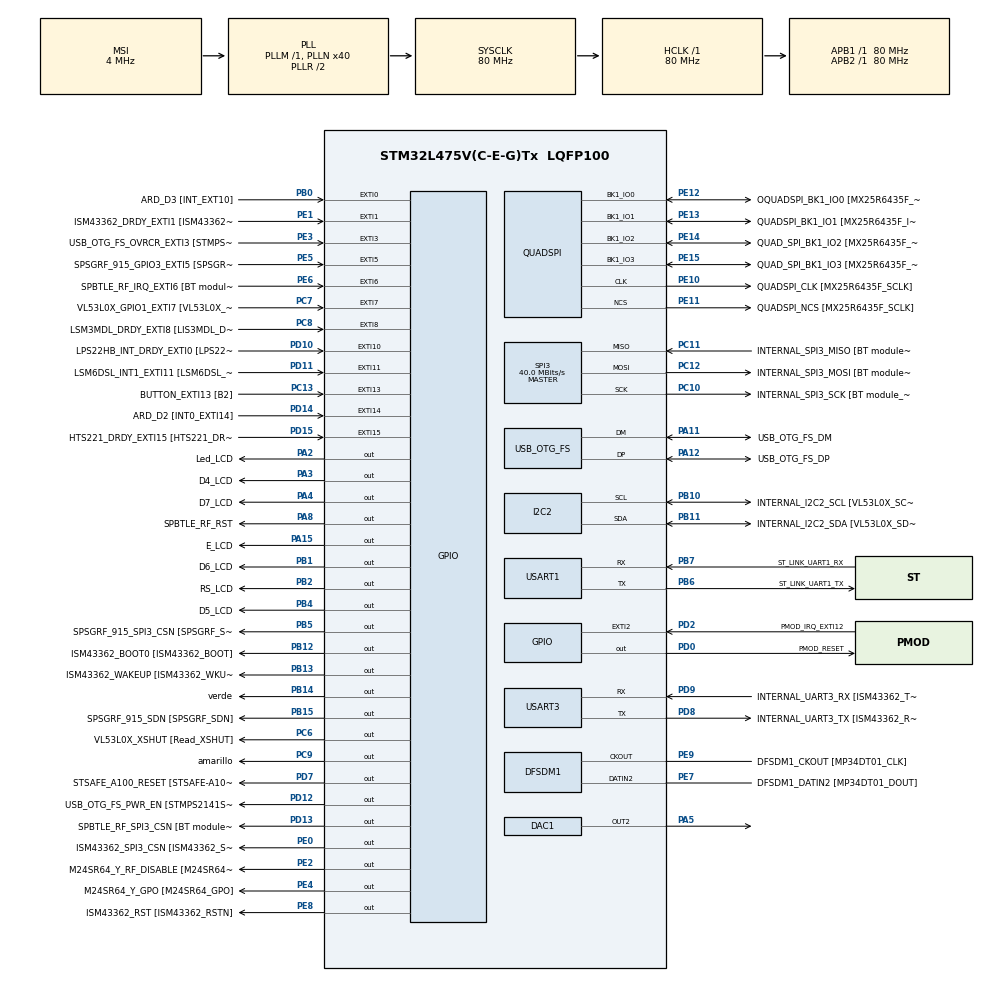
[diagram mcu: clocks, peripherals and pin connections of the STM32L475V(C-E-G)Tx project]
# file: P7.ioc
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DAC1.DAC_Channel-DAC_OUT2=DAC_CHANNEL_2
FREERTOS.BinarySemaphores01=myLCD,Dynamic,NULL
FREERTOS.Tasks01=defaultTask,24,128,StartDefaultTask,Default,NULL,Dynamic,NULL,NULL;led_verde,24,128,Start_led_verde,Default,NULL,Dynamic,NULL,NULL;led_amarillo,8,128,Start_led_amarillo,Default,NULL,Dynamic,NULL,NULL;LCDTareaA,8,128,Start_LCDTareaA,Default,NULL,Dynamic,NULL,NULL;LCDTareaB,24,128,Start_LCDTareaB,Default,NULL,Dynamic,NULL,NULL
FREERTOS.configTOTAL_HEAP_SIZE=30000
I2C2.Timing=0x10909CEC
Mcu.Family=STM32L4
Mcu.Name=STM32L475V(C-E-G)Tx
Mcu.Package=LQFP100
NVIC.EXTI15_10_IRQn=true\:5\:0\:false\:false\:true\:true\:true\:true
NVIC.EXTI9_5_IRQn=true\:5\:0\:false\:false\:true\:true\:true\:true
NVIC.OTG_FS_IRQn=true\:5\:0\:false\:false\:true\:true\:true\:true
NVIC.PriorityGroup=NVIC_PRIORITYGROUP_4
NVIC.TIM7_IRQn=true\:5\:0\:false\:false\:true\:true\:true\:true
PA0.GPIO_Label=ARD_D1 [UART4_TX]
PA0.Signal=UART4_TX
PA1.GPIO_Label=ARD_D0 [UART4_RX]
PA1.Signal=UART4_RX
PA10.GPIO_Label=USB_OTG_FS_ID
PA10.Signal=USB_OTG_FS_ID
PA11.GPIO_Label=USB_OTG_FS_DM
PA11.Mode=Device_Only
PA11.Signal=USB_OTG_FS_DM
PA12.GPIO_Label=USB_OTG_FS_DP
PA12.Mode=Device_Only
PA12.Signal=USB_OTG_FS_DP
PA13\ (JTMS-SWDIO).GPIO_Label=SYS_JTMS_SWDIO
PA13\ (JTMS-SWDIO).Mode=Serial_Wire
PA13\ (JTMS-SWDIO).Signal=SYS_JTMS-SWDIO
PA14\ (JTCK-SWCLK).GPIO_Label=SYS_JTCK_SWCLK
PA14\ (JTCK-SWCLK).Mode=Serial_Wire
PA14\ (JTCK-SWCLK).Signal=SYS_JTCK-SWCLK
PA15\ (JTDI).GPIO_Label=E_LCD
PA15\ (JTDI).Signal=GPIO_Output
PA2.GPIO_Label=Led_LCD
PA2.Signal=GPIO_Output
PA3.GPIO_Label=D4_LCD
PA3.Signal=GPIO_Output
PA4.GPIO_Label=D7_LCD
PA4.Signal=GPIO_Output
PA5.Signal=COMP_DAC12_group
PA6.GPIO_Label=ARD_D12 [SPI1_MISO]
PA6.Signal=SPI1_MISO
PA7.GPIO_Label=ARD_D11 [SPI1_MOSI]
PA7.Signal=SPI1_MOSI
PA8.GPIO_Label=SPBTLE_RF_RST
PA8.Signal=GPIO_Output
PA9.GPIO_Label=USB_OTG_FS_VBUS [STMPS2141STR_OUT]
PA9.Signal=USB_OTG_FS_VBUS
PB0.GPIO_Label=ARD_D3 [INT_EXT10]
PB0.Signal=GPXTI0
PB1.GPIO_Label=D6_LCD
PB1.Signal=GPIO_Output
PB10.GPIO_Label=INTERNAL_I2C2_SCL [VL53L0X_SCL]
PB10.Mode=I2C
PB10.Signal=I2C2_SCL
PB11.GPIO_Label=INTERNAL_I2C2_SDA [VL53L0X_SDA]
PB11.Mode=I2C
PB11.Signal=I2C2_SDA
PB12.GPIO_Label=ISM43362_BOOT0 [ISM43362_BOOT]
PB12.Signal=GPIO_Output
PB13.GPIO_Label=ISM43362_WAKEUP [ISM43362_WKUP]
PB13.Signal=GPIO_Output
PB14.GPIO_Label=verde
PB14.Signal=GPIO_Output
PB15.GPIO_Label=SPSGRF_915_SDN [SPSGRF_SDN]
PB15.Signal=GPIO_Output
PB2.GPIO_Label=RS_LCD
PB2.Signal=GPIO_Output
PB3\ (JTDO-TRACESWO).GPIO_Label=SYS_JTD0_SWO
PB3\ (JTDO-TRACESWO).Signal=SYS_JTDO-SWO
PB4\ (NJTRST).GPIO_Label=D5_LCD
PB4\ (NJTRST).Signal=GPIO_Output
PB5.GPIO_Label=SPSGRF_915_SPI3_CSN [SPSGRF_SPI_CS]
PB5.PinState=GPIO_PIN_SET
PB5.Signal=GPIO_Output
PB6.GPIO_Label=ST_LINK_UART1_TX
PB6.Mode=Asynchronous
PB6.Signal=USART1_TX
PB7.GPIO_Label=ST_LINK_UART1_RX
PB7.Mode=Asynchronous
PB7.Signal=USART1_RX
PB8.GPIO_Label=ARD_D15 [I2C1_SCL]
PB8.Signal=I2C1_SCL
PB9.GPIO_Label=ARD_D14 [I2C1_SDA]
PB9.Signal=I2C1_SDA
PC0.GPIO_Label=ARD_A5 [ADC]
PC0.Signal=ADCx_IN1
PC1.GPIO_Label=ARD_A4 [ADC]
PC1.Signal=ADCx_IN2
PC10.GPIO_Label=INTERNAL_SPI3_SCK [BT module_SPI_SCLK] [ISM43362_SCK]
PC10.Mode=Full_Duplex_Master
PC10.Signal=SPI3_SCK
PC11.GPIO_Label=INTERNAL_SPI3_MISO [BT module_SPI_MISO] [ISM43362_MISO]
PC11.Mode=Full_Duplex_Master
PC11.Signal=SPI3_MISO
PC12.GPIO_Label=INTERNAL_SPI3_MOSI [BT module_SPI_MOSI] [ISM43362_MOSI]
PC12.Mode=Full_Duplex_Master
PC12.Signal=SPI3_MOSI
PC13.GPIO_Label=BUTTON_EXTI13 [B2]
PC13.GPIO_ModeDefaultEXTI=GPIO_MODE_IT_FALLING
PC13.Signal=GPXTI13
PC14-OSC32_IN\ (PC14).Mode=LSE-External-Oscillator
PC14-OSC32_IN\ (PC14).Signal=RCC_OSC32_IN
PC15-OSC32_OUT\ (PC15).Mode=LSE-External-Oscillator
PC15-OSC32_OUT\ (PC15).Signal=RCC_OSC32_OUT
PC2.GPIO_Label=ARD_A3 [ADC]
PC2.Signal=ADCx_IN3
PC3.GPIO_Label=ARD_A2 [ADC]
PC3.Signal=ADCx_IN4
PC4.GPIO_Label=ARD_A1 [ADC]
PC4.Signal=ADCx_IN13
PC5.GPIO_Label=ARD_A0 [ADC]
PC5.Signal=ADCx_IN14
PC6.GPIO_Label=VL53L0X_XSHUT [Read_XSHUT]
PC6.Signal=GPIO_Output
PC7.GPIO_Label=VL53L0X_GPIO1_EXTI7 [VL53L0X_GPIO1]
PC7.Signal=GPXTI7
PC8.GPIO_Label=LSM3MDL_DRDY_EXTI8 [LIS3MDL_DRDY]
PC8.Signal=GPXTI8
PC9.GPIO_Label=amarillo
PC9.Signal=GPIO_Output
PD0.GPIO_Label=PMOD_RESET
PD0.Signal=GPIO_Output
PD1.GPIO_Label=PMOD_SPI2_SCK
PD1.Signal=SPI2_SCK
PD10.GPIO_Label=LPS22HB_INT_DRDY_EXTI0 [LPS22HB_INT_DRDY] 
PD10.Signal=GPXTI10
PD11.GPIO_Label=LSM6DSL_INT1_EXTI11 [LSM6DSL_INT1]
PD11.Signal=GPXTI11
PD12.GPIO_Label=USB_OTG_FS_PWR_EN [STMPS2141STR_EN]
PD12.Signal=GPIO_Output
PD13.GPIO_Label=SPBTLE_RF_SPI3_CSN [BT module_SPI_CS]
PD13.PinState=GPIO_PIN_SET
PD13.Signal=GPIO_Output
PD14.GPIO_Label=ARD_D2 [INT0_EXTI14]
PD14.Signal=GPXTI14
PD15.GPIO_Label=HTS221_DRDY_EXTI15 [HTS221_DRDY]
PD15.Signal=GPXTI15
PD2.GPIO_Label=PMOD_IRQ_EXTI12
PD2.Signal=GPXTI2
PD3.GPIO_Label=PMOD_UART2_CTS
PD3.Signal=USART2_CTS
PD4.GPIO_Label=PMOD_UART2_RTS
PD4.Signal=USART2_RTS
PD5.GPIO_Label=PMOD_UART2_TX
PD5.Signal=USART2_TX
PD6.GPIO_Label=PMOD_UART2_RX
PD6.Signal=USART2_RX
PD7.GPIO_Label=STSAFE_A100_RESET [STSAFE-A100_RESET]
PD7.Signal=GPIO_Output
PD8.GPIO_Label=INTERNAL_UART3_TX [ISM43362_RX]
PD8.Mode=Asynchronous
PD8.Signal=USART3_TX
PD9.GPIO_Label=INTERNAL_UART3_RX [ISM43362_TX]
PD9.Mode=Asynchronous
PD9.Signal=USART3_RX
PE0.GPIO_Label=ISM43362_SPI3_CSN [ISM43362_SSN]
PE0.PinState=GPIO_PIN_SET
PE0.Signal=GPIO_Output
PE1.GPIO_Label=ISM43362_DRDY_EXTI1 [ISM43362_DATARDY]
PE1.Signal=GPXTI1
PE10.GPIO_Label=QUADSPI_CLK [MX25R6435F_SCLK]
PE10.Mode=Single Bank
PE10.Signal=QUADSPI_CLK
PE11.GPIO_Label=QUADSPI_NCS [MX25R6435F_SCLK]
PE11.Mode=Single Bank
PE11.Signal=QUADSPI_NCS
PE12.GPIO_Label=OQUADSPI_BK1_IO0 [MX25R6435F_IO0]
PE12.Mode=Single Bank
PE12.Signal=QUADSPI_BK1_IO0
PE13.GPIO_Label=QUADSPI_BK1_IO1 [MX25R6435F_IO1]
PE13.Mode=Single Bank
PE13.Signal=QUADSPI_BK1_IO1
PE14.GPIO_Label=QUAD_SPI_BK1_IO2 [MX25R6435F_IO2]
PE14.Mode=Single Bank
PE14.Signal=QUADSPI_BK1_IO2
PE15.GPIO_Label=QUAD_SPI_BK1_IO3 [MX25R6435F_IO3]
PE15.Mode=Single Bank
PE15.Signal=QUADSPI_BK1_IO3
PE2.GPIO_Label=M24SR64_Y_RF_DISABLE [M24SR64_RFDIS]
PE2.Signal=GPIO_Output
PE3.GPIO_Label=USB_OTG_FS_OVRCR_EXTI3 [STMPS2141STR_FAULT]
PE3.Signal=GPXTI3
PE4.GPIO_Label=M24SR64_Y_GPO [M24SR64_GPO]
PE4.Signal=GPIO_Output
PE5.GPIO_Label=SPSGRF_915_GPIO3_EXTI5 [SPSGRF_GPIO_3]
PE5.Signal=GPXTI5
PE6.GPIO_Label=SPBTLE_RF_IRQ_EXTI6 [BT module_SPI_IRQ]
PE6.Signal=GPXTI6
PE7.GPIO_Label=DFSDM1_DATIN2 [MP34DT01_DOUT]
PE7.Signal=S_DATAIN2DFSDM1
PE8.GPIO_Label=ISM43362_RST [ISM43362_RSTN]
PE8.Signal=GPIO_Output
PE9.GPIO_Label=DFSDM1_CKOUT [MP34DT01_CLK]
PE9.Signal=S_CKOUTDFSDM1
ProjectManager.HeapSize=0x200
ProjectManager.StackSize=0x400
ProjectManager.TargetToolchain=STM32CubeIDE
RCC.ADCFreq_Value=48000000
RCC.AHBFreq_Value=80000000
RCC.APB1Freq_Value=80000000
RCC.APB1TimFreq_Value=80000000
RCC.APB2Freq_Value=80000000
RCC.APB2TimFreq_Value=80000000
RCC.CortexFreq_Value=80000000
RCC.HCLKFreq_Value=80000000
RCC.HSE_VALUE=8000000
RCC.HSI_VALUE=16000000
RCC.MSI_VALUE=4000000
RCC.PLLN=40
RCC.PLLSAI1N=24
RCC.SYSCLKFreq_VALUE=80000000
RCC.SYSCLKSource=RCC_SYSCLKSOURCE_PLLCLK
RCC.USBFreq_Value=48000000
RCC.VCOOutputFreq_Value=160000000
SH.ADCx_IN1.0=ADC1_IN1
SH.ADCx_IN13.0=ADC1_IN13
SH.ADCx_IN14.0=ADC1_IN14
SH.ADCx_IN2.0=ADC1_IN2
SH.ADCx_IN3.0=ADC1_IN3
SH.ADCx_IN4.0=ADC1_IN4
SH.COMP_DAC12_group.0=DAC1_OUT2,DAC_OUT2
SH.S_CKOUTDFSDM1.0=DFSDM1_CKOUT,CKOUT
SH.S_CKOUTDFSDM1.1=DFSDM1_CKOUT,PDM_SPI_Input_from_ch12_and_Internal_Clock
SH.S_DATAIN2DFSDM1.0=DFSDM1_DATIN2,PDM_SPI_Input_from_ch12_and_Internal_Clock
SPI3.CalculateBaudRate=40.0 MBits/s
SPI3.Direction=SPI_DIRECTION_2LINES
SPI3.Mode=SPI_MODE_MASTER
SPI3.VirtualType=VM_MASTER
TIM7.Period=3320
USART1.VirtualMode-Asynchronous=VM_ASYNC
USART3.VirtualMode-Asynchronous=VM_ASYNC
USB_DEVICE.CLASS_NAME_FS=AUDIO
USB_DEVICE.USBD_AUDIO_FREQ=24000
USB_DEVICE.VirtualMode=Audio
USB_DEVICE.VirtualModeFS=Audio_FS
USB_OTG_FS.VirtualMode=Device_Only
VP_FREERTOS_VS_CMSIS_V2.Mode=CMSIS_V2
VP_TIM7_VS_ClockSourceINT.Mode=Enable_Timer
VP_USB_DEVICE_VS_USB_DEVICE_AUDIO_FS.Mode=AUDIO_FS
board=B-L475E-IOT01A1

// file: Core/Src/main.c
/* USER CODE BEGIN Header */
/**
  ******************************************************************************
  * @file           : main.c
  * @brief          : Main program body
  ******************************************************************************
  * @attention
  *
  * <h2><center>&copy; Copyright (c) 2021 STMicroelectronics.
  * All rights reserved.</center></h2>
  *
  * This software component is licensed by ST under BSD 3-Clause license,
  * the "License"; You may not use this file except in compliance with the
  * License. You may obtain a copy of the License at:
  *                        opensource.org/licenses/BSD-3-Clause
  *
  ******************************************************************************
  */
/* USER CODE END Header */

#include "main.h"
#include "cmsis_os.h"
#include "usb_device.h"

/* USER CODE BEGIN Includes */
#include "hd44780.h"
/* USER CODE END Includes */

DAC_HandleTypeDef hdac1;

DFSDM_Channel_HandleTypeDef hdfsdm1_channel1;

I2C_HandleTypeDef hi2c2;

QSPI_HandleTypeDef hqspi;

SPI_HandleTypeDef hspi3;

TIM_HandleTypeDef htim7;

UART_HandleTypeDef huart1;
UART_HandleTypeDef huart3;

/* Definitions for defaultTask */
osThreadId_t defaultTaskHandle;
const osThreadAttr_t defaultTask_attributes = {
  .name = "defaultTask",
  .priority = (osPriority_t) osPriorityNormal,
  .stack_size = 128 * 4
};
/* Definitions for led_verde */
osThreadId_t led_verdeHandle;
const osThreadAttr_t led_verde_attributes = {
  .name = "led_verde",
  .priority = (osPriority_t) osPriorityNormal,
  .stack_size = 128 * 4
};
/* Definitions for led_amarillo */
osThreadId_t led_amarilloHandle;
const osThreadAttr_t led_amarillo_attributes = {
  .name = "led_amarillo",
  .priority = (osPriority_t) osPriorityLow,
  .stack_size = 128 * 4
};
/* Definitions for LCDTareaA */
osThreadId_t LCDTareaAHandle;
const osThreadAttr_t LCDTareaA_attributes = {
  .name = "LCDTareaA",
  .priority = (osPriority_t) osPriorityLow,
  .stack_size = 128 * 4
};
/* Definitions for LCDTareaB */
osThreadId_t LCDTareaBHandle;
const osThreadAttr_t LCDTareaB_attributes = {
  .name = "LCDTareaB",
  .priority = (osPriority_t) osPriorityNormal,
  .stack_size = 128 * 4
};
/* Definitions for myLCD */
osSemaphoreId_t myLCDHandle;
const osSemaphoreAttr_t myLCD_attributes = {
  .name = "myLCD"
};
/* USER CODE BEGIN PV */
int sample, Ain;
uint8_t buttonID;
float ganancia;
uint8_t efecto;
/* USER CODE END PV */

void SystemClock_Config(void);
static void MX_GPIO_Init(void);
static void MX_DFSDM1_Init(void);
static void MX_I2C2_Init(void);
static void MX_QUADSPI_Init(void);
static void MX_SPI3_Init(void);
static void MX_USART1_UART_Init(void);
static void MX_USART3_UART_Init(void);
static void MX_DAC1_Init(void);
static void MX_TIM7_Init(void);
void StartDefaultTask(void *argument);
void Start_led_verde(void *argument);
void Start_led_amarillo(void *argument);
void Start_LCDTareaA(void *argument);
void Start_LCDTareaB(void *argument);

int main(void)
{

  /* MCU Configuration--------------------------------------------------------*/

  /* Reset of all peripherals, Initializes the Flash interface and the Systick. */
  HAL_Init();

  /* Configure the system clock */
  SystemClock_Config();

  /* Initialize all configured peripherals */
  MX_GPIO_Init();
  MX_DFSDM1_Init();
  MX_I2C2_Init();
  MX_QUADSPI_Init();
  MX_SPI3_Init();
  MX_USART1_UART_Init();
  MX_USART3_UART_Init();
  MX_DAC1_Init();
  MX_TIM7_Init();
  /* USER CODE BEGIN 2 */
  HAL_DAC_Start(&hdac1, DAC1_CHANNEL_2);
  HAL_TIM_Base_Start_IT(&htim7);
  /* USER CODE END 2 */

  /* Init scheduler */
  osKernelInitialize();

  /* Create the semaphores(s) */
  /* creation of myLCD */
  myLCDHandle = osSemaphoreNew(1, 1, &myLCD_attributes);

  /* Create the thread(s) */
  /* creation of defaultTask */
  defaultTaskHandle = osThreadNew(StartDefaultTask, NULL, &defaultTask_attributes);

  /* creation of led_verde */
  led_verdeHandle = osThreadNew(Start_led_verde, NULL, &led_verde_attributes);

  /* creation of led_amarillo */
  led_amarilloHandle = osThreadNew(Start_led_amarillo, NULL, &led_amarillo_attributes);

  /* creation of LCDTareaA */
  LCDTareaAHandle = osThreadNew(Start_LCDTareaA, NULL, &LCDTareaA_attributes);

  /* creation of LCDTareaB */
  LCDTareaBHandle = osThreadNew(Start_LCDTareaB, NULL, &LCDTareaB_attributes);

  /* Start scheduler */
  osKernelStart();

  /* We should never get here as control is now taken by the scheduler */
  /* Infinite loop */
  while (1)
  {

  }
}

void SystemClock_Config(void)
{
  RCC_OscInitTypeDef RCC_OscInitStruct = {0};
  RCC_ClkInitTypeDef RCC_ClkInitStruct = {0};
  RCC_PeriphCLKInitTypeDef PeriphClkInit = {0};

  /** Configure LSE Drive Capability
  */
  HAL_PWR_EnableBkUpAccess();
  __HAL_RCC_LSEDRIVE_CONFIG(RCC_LSEDRIVE_LOW);
  /** Initializes the CPU, AHB and APB busses clocks
  */
  RCC_OscInitStruct.OscillatorType = RCC_OSCILLATORTYPE_LSE|RCC_OSCILLATORTYPE_MSI;
  RCC_OscInitStruct.LSEState = RCC_LSE_ON;
  RCC_OscInitStruct.MSIState = RCC_MSI_ON;
  RCC_OscInitStruct.MSICalibrationValue = 0;
  RCC_OscInitStruct.MSIClockRange = RCC_MSIRANGE_6;
  RCC_OscInitStruct.PLL.PLLState = RCC_PLL_ON;
  RCC_OscInitStruct.PLL.PLLSource = RCC_PLLSOURCE_MSI;
  RCC_OscInitStruct.PLL.PLLM = 1;
  RCC_OscInitStruct.PLL.PLLN = 40;
  RCC_OscInitStruct.PLL.PLLP = RCC_PLLP_DIV7;
  RCC_OscInitStruct.PLL.PLLQ = RCC_PLLQ_DIV2;
  RCC_OscInitStruct.PLL.PLLR = RCC_PLLR_DIV2;
  if (HAL_RCC_OscConfig(&RCC_OscInitStruct) != HAL_OK)
  {
    Error_Handler();
  }
  /** Initializes the CPU, AHB and APB busses clocks
  */
  RCC_ClkInitStruct.ClockType = RCC_CLOCKTYPE_HCLK|RCC_CLOCKTYPE_SYSCLK
                              |RCC_CLOCKTYPE_PCLK1|RCC_CLOCKTYPE_PCLK2;
  RCC_ClkInitStruct.SYSCLKSource = RCC_SYSCLKSOURCE_PLLCLK;
  RCC_ClkInitStruct.AHBCLKDivider = RCC_SYSCLK_DIV1;
  RCC_ClkInitStruct.APB1CLKDivider = RCC_HCLK_DIV1;
  RCC_ClkInitStruct.APB2CLKDivider = RCC_HCLK_DIV1;

  if (HAL_RCC_ClockConfig(&RCC_ClkInitStruct, FLASH_LATENCY_4) != HAL_OK)
  {
    Error_Handler();
  }
  PeriphClkInit.PeriphClockSelection = RCC_PERIPHCLK_USART1|RCC_PERIPHCLK_USART3
                              |RCC_PERIPHCLK_I2C2|RCC_PERIPHCLK_DFSDM1
                              |RCC_PERIPHCLK_USB;
  PeriphClkInit.Usart1ClockSelection = RCC_USART1CLKSOURCE_PCLK2;
  PeriphClkInit.Usart3ClockSelection = RCC_USART3CLKSOURCE_PCLK1;
  PeriphClkInit.I2c2ClockSelection = RCC_I2C2CLKSOURCE_PCLK1;
  PeriphClkInit.Dfsdm1ClockSelection = RCC_DFSDM1CLKSOURCE_PCLK;
  PeriphClkInit.UsbClockSelection = RCC_USBCLKSOURCE_PLLSAI1;
  PeriphClkInit.PLLSAI1.PLLSAI1Source = RCC_PLLSOURCE_MSI;
  PeriphClkInit.PLLSAI1.PLLSAI1M = 1;
  PeriphClkInit.PLLSAI1.PLLSAI1N = 24;
  PeriphClkInit.PLLSAI1.PLLSAI1P = RCC_PLLP_DIV7;
  PeriphClkInit.PLLSAI1.PLLSAI1Q = RCC_PLLQ_DIV2;
  PeriphClkInit.PLLSAI1.PLLSAI1R = RCC_PLLR_DIV2;
  PeriphClkInit.PLLSAI1.PLLSAI1ClockOut = RCC_PLLSAI1_48M2CLK;
  if (HAL_RCCEx_PeriphCLKConfig(&PeriphClkInit) != HAL_OK)
  {
    Error_Handler();
  }
  /** Configure the main internal regulator output voltage
  */
  if (HAL_PWREx_ControlVoltageScaling(PWR_REGULATOR_VOLTAGE_SCALE1) != HAL_OK)
  {
    Error_Handler();
  }
  /** Enable MSI Auto calibration
  */
  HAL_RCCEx_EnableMSIPLLMode();
}

static void MX_DAC1_Init(void)
{

  DAC_ChannelConfTypeDef sConfig = {0};

  /** DAC Initialization
  */
  hdac1.Instance = DAC1;
  if (HAL_DAC_Init(&hdac1) != HAL_OK)
  {
    Error_Handler();
  }
  /** DAC channel OUT2 config
  */
  sConfig.DAC_SampleAndHold = DAC_SAMPLEANDHOLD_DISABLE;
  sConfig.DAC_Trigger = DAC_TRIGGER_NONE;
  sConfig.DAC_OutputBuffer = DAC_OUTPUTBUFFER_ENABLE;
  sConfig.DAC_ConnectOnChipPeripheral = DAC_CHIPCONNECT_DISABLE;
  sConfig.DAC_UserTrimming = DAC_TRIMMING_FACTORY;
  if (HAL_DAC_ConfigChannel(&hdac1, &sConfig, DAC_CHANNEL_2) != HAL_OK)
  {
    Error_Handler();
  }

}

static void MX_DFSDM1_Init(void)
{

  hdfsdm1_channel1.Instance = DFSDM1_Channel1;
  hdfsdm1_channel1.Init.OutputClock.Activation = ENABLE;
  hdfsdm1_channel1.Init.OutputClock.Selection = DFSDM_CHANNEL_OUTPUT_CLOCK_SYSTEM;
  hdfsdm1_channel1.Init.OutputClock.Divider = 2;
  hdfsdm1_channel1.Init.Input.Multiplexer = DFSDM_CHANNEL_EXTERNAL_INPUTS;
  hdfsdm1_channel1.Init.Input.DataPacking = DFSDM_CHANNEL_STANDARD_MODE;
  hdfsdm1_channel1.Init.Input.Pins = DFSDM_CHANNEL_FOLLOWING_CHANNEL_PINS;
  hdfsdm1_channel1.Init.SerialInterface.Type = DFSDM_CHANNEL_SPI_RISING;
  hdfsdm1_channel1.Init.SerialInterface.SpiClock = DFSDM_CHANNEL_SPI_CLOCK_INTERNAL;
  hdfsdm1_channel1.Init.Awd.FilterOrder = DFSDM_CHANNEL_FASTSINC_ORDER;
  hdfsdm1_channel1.Init.Awd.Oversampling = 1;
  hdfsdm1_channel1.Init.Offset = 0;
  hdfsdm1_channel1.Init.RightBitShift = 0x00;
  if (HAL_DFSDM_ChannelInit(&hdfsdm1_channel1) != HAL_OK)
  {
    Error_Handler();
  }

}

static void MX_I2C2_Init(void)
{

  hi2c2.Instance = I2C2;
  hi2c2.Init.Timing = 0x10909CEC;
  hi2c2.Init.OwnAddress1 = 0;
  hi2c2.Init.AddressingMode = I2C_ADDRESSINGMODE_7BIT;
  hi2c2.Init.DualAddressMode = I2C_DUALADDRESS_DISABLE;
  hi2c2.Init.OwnAddress2 = 0;
  hi2c2.Init.OwnAddress2Masks = I2C_OA2_NOMASK;
  hi2c2.Init.GeneralCallMode = I2C_GENERALCALL_DISABLE;
  hi2c2.Init.NoStretchMode = I2C_NOSTRETCH_DISABLE;
  if (HAL_I2C_Init(&hi2c2) != HAL_OK)
  {
    Error_Handler();
  }
  /** Configure Analogue filter
  */
  if (HAL_I2CEx_ConfigAnalogFilter(&hi2c2, I2C_ANALOGFILTER_ENABLE) != HAL_OK)
  {
    Error_Handler();
  }
  /** Configure Digital filter
  */
  if (HAL_I2CEx_ConfigDigitalFilter(&hi2c2, 0) != HAL_OK)
  {
    Error_Handler();
  }

}

static void MX_QUADSPI_Init(void)
{

  /* QUADSPI parameter configuration*/
  hqspi.Instance = QUADSPI;
  hqspi.Init.ClockPrescaler = 255;
  hqspi.Init.FifoThreshold = 1;
  hqspi.Init.SampleShifting = QSPI_SAMPLE_SHIFTING_NONE;
  hqspi.Init.FlashSize = 1;
  hqspi.Init.ChipSelectHighTime = QSPI_CS_HIGH_TIME_1_CYCLE;
  hqspi.Init.ClockMode = QSPI_CLOCK_MODE_0;
  if (HAL_QSPI_Init(&hqspi) != HAL_OK)
  {
    Error_Handler();
  }

}

static void MX_SPI3_Init(void)
{

  /* SPI3 parameter configuration*/
  hspi3.Instance = SPI3;
  hspi3.Init.Mode = SPI_MODE_MASTER;
  hspi3.Init.Direction = SPI_DIRECTION_2LINES;
  hspi3.Init.DataSize = SPI_DATASIZE_4BIT;
  hspi3.Init.CLKPolarity = SPI_POLARITY_LOW;
  hspi3.Init.CLKPhase = SPI_PHASE_1EDGE;
  hspi3.Init.NSS = SPI_NSS_SOFT;
  hspi3.Init.BaudRatePrescaler = SPI_BAUDRATEPRESCALER_2;
  hspi3.Init.FirstBit = SPI_FIRSTBIT_MSB;
  hspi3.Init.TIMode = SPI_TIMODE_DISABLE;
  hspi3.Init.CRCCalculation = SPI_CRCCALCULATION_DISABLE;
  hspi3.Init.CRCPolynomial = 7;
  hspi3.Init.CRCLength = SPI_CRC_LENGTH_DATASIZE;
  hspi3.Init.NSSPMode = SPI_NSS_PULSE_ENABLE;
  if (HAL_SPI_Init(&hspi3) != HAL_OK)
  {
    Error_Handler();
  }

}

static void MX_TIM7_Init(void)
{

  TIM_MasterConfigTypeDef sMasterConfig = {0};

  htim7.Instance = TIM7;
  htim7.Init.Prescaler = 0;
  htim7.Init.CounterMode = TIM_COUNTERMODE_UP;
  htim7.Init.Period = 3320;
  htim7.Init.AutoReloadPreload = TIM_AUTORELOAD_PRELOAD_DISABLE;
  if (HAL_TIM_Base_Init(&htim7) != HAL_OK)
  {
    Error_Handler();
  }
  sMasterConfig.MasterOutputTrigger = TIM_TRGO_RESET;
  sMasterConfig.MasterSlaveMode = TIM_MASTERSLAVEMODE_DISABLE;
  if (HAL_TIMEx_MasterConfigSynchronization(&htim7, &sMasterConfig) != HAL_OK)
  {
    Error_Handler();
  }

}

static void MX_USART1_UART_Init(void)
{

  huart1.Instance = USART1;
  huart1.Init.BaudRate = 115200;
  huart1.Init.WordLength = UART_WORDLENGTH_8B;
  huart1.Init.StopBits = UART_STOPBITS_1;
  huart1.Init.Parity = UART_PARITY_NONE;
  huart1.Init.Mode = UART_MODE_TX_RX;
  huart1.Init.HwFlowCtl = UART_HWCONTROL_NONE;
  huart1.Init.OverSampling = UART_OVERSAMPLING_16;
  huart1.Init.OneBitSampling = UART_ONE_BIT_SAMPLE_DISABLE;
  huart1.AdvancedInit.AdvFeatureInit = UART_ADVFEATURE_NO_INIT;
  if (HAL_UART_Init(&huart1) != HAL_OK)
  {
    Error_Handler();
  }

}

static void MX_USART3_UART_Init(void)
{

  huart3.Instance = USART3;
  huart3.Init.BaudRate = 115200;
  huart3.Init.WordLength = UART_WORDLENGTH_8B;
  huart3.Init.StopBits = UART_STOPBITS_1;
  huart3.Init.Parity = UART_PARITY_NONE;
  huart3.Init.Mode = UART_MODE_TX_RX;
  huart3.Init.HwFlowCtl = UART_HWCONTROL_NONE;
  huart3.Init.OverSampling = UART_OVERSAMPLING_16;
  huart3.Init.OneBitSampling = UART_ONE_BIT_SAMPLE_DISABLE;
  huart3.AdvancedInit.AdvFeatureInit = UART_ADVFEATURE_NO_INIT;
  if (HAL_UART_Init(&huart3) != HAL_OK)
  {
    Error_Handler();
  }

}

static void MX_GPIO_Init(void)
{
  GPIO_InitTypeDef GPIO_InitStruct = {0};

  /* GPIO Ports Clock Enable */
  __HAL_RCC_GPIOE_CLK_ENABLE();
  __HAL_RCC_GPIOC_CLK_ENABLE();
  __HAL_RCC_GPIOA_CLK_ENABLE();
  __HAL_RCC_GPIOB_CLK_ENABLE();
  __HAL_RCC_GPIOD_CLK_ENABLE();

  /*Configure GPIO pin Output Level */
  HAL_GPIO_WritePin(GPIOE, M24SR64_Y_RF_DISABLE_Pin|M24SR64_Y_GPO_Pin|ISM43362_RST_Pin, GPIO_PIN_RESET);

  /*Configure GPIO pin Output Level */
  HAL_GPIO_WritePin(GPIOA, Led_LCD_Pin|D4_LCD_Pin|D7_LCD_Pin|SPBTLE_RF_RST_Pin
                          |E_LCD_Pin, GPIO_PIN_RESET);

  /*Configure GPIO pin Output Level */
  HAL_GPIO_WritePin(GPIOB, D6_LCD_Pin|RS_LCD_Pin|ISM43362_BOOT0_Pin|ISM43362_WAKEUP_Pin
                          |verde_Pin|SPSGRF_915_SDN_Pin|D5_LCD_Pin, GPIO_PIN_RESET);

  /*Configure GPIO pin Output Level */
  HAL_GPIO_WritePin(GPIOD, USB_OTG_FS_PWR_EN_Pin|PMOD_RESET_Pin|STSAFE_A100_RESET_Pin, GPIO_PIN_RESET);

  /*Configure GPIO pin Output Level */
  HAL_GPIO_WritePin(SPBTLE_RF_SPI3_CSN_GPIO_Port, SPBTLE_RF_SPI3_CSN_Pin, GPIO_PIN_SET);

  /*Configure GPIO pin Output Level */
  HAL_GPIO_WritePin(GPIOC, VL53L0X_XSHUT_Pin|amarillo_Pin, GPIO_PIN_RESET);

  /*Configure GPIO pin Output Level */
  HAL_GPIO_WritePin(SPSGRF_915_SPI3_CSN_GPIO_Port, SPSGRF_915_SPI3_CSN_Pin, GPIO_PIN_SET);

  /*Configure GPIO pin Output Level */
  HAL_GPIO_WritePin(ISM43362_SPI3_CSN_GPIO_Port, ISM43362_SPI3_CSN_Pin, GPIO_PIN_SET);

  /*Configure GPIO pins : M24SR64_Y_RF_DISABLE_Pin M24SR64_Y_GPO_Pin ISM43362_RST_Pin ISM43362_SPI3_CSN_Pin */
  GPIO_InitStruct.Pin = M24SR64_Y_RF_DISABLE_Pin|M24SR64_Y_GPO_Pin|ISM43362_RST_Pin|ISM43362_SPI3_CSN_Pin;
  GPIO_InitStruct.Mode = GPIO_MODE_OUTPUT_PP;
  GPIO_InitStruct.Pull = GPIO_NOPULL;
  GPIO_InitStruct.Speed = GPIO_SPEED_FREQ_LOW;
  HAL_GPIO_Init(GPIOE, &GPIO_InitStruct);

  /*Configure GPIO pins : USB_OTG_FS_OVRCR_EXTI3_Pin SPSGRF_915_GPIO3_EXTI5_Pin SPBTLE_RF_IRQ_EXTI6_Pin ISM43362_DRDY_EXTI1_Pin */
  GPIO_InitStruct.Pin = USB_OTG_FS_OVRCR_EXTI3_Pin|SPSGRF_915_GPIO3_EXTI5_Pin|SPBTLE_RF_IRQ_EXTI6_Pin|ISM43362_DRDY_EXTI1_Pin;
  GPIO_InitStruct.Mode = GPIO_MODE_IT_RISING;
  GPIO_InitStruct.Pull = GPIO_NOPULL;
  HAL_GPIO_Init(GPIOE, &GPIO_InitStruct);

  /*Configure GPIO pin : BUTTON_EXTI13_Pin */
  GPIO_InitStruct.Pin = BUTTON_EXTI13_Pin;
  GPIO_InitStruct.Mode = GPIO_MODE_IT_FALLING;
  GPIO_InitStruct.Pull = GPIO_NOPULL;
  HAL_GPIO_Init(BUTTON_EXTI13_GPIO_Port, &GPIO_InitStruct);

  /*Configure GPIO pins : ARD_A5_Pin ARD_A4_Pin ARD_A3_Pin ARD_A2_Pin
                           ARD_A1_Pin ARD_A0_Pin */
  GPIO_InitStruct.Pin = ARD_A5_Pin|ARD_A4_Pin|ARD_A3_Pin|ARD_A2_Pin
                          |ARD_A1_Pin|ARD_A0_Pin;
  GPIO_InitStruct.Mode = GPIO_MODE_ANALOG_ADC_CONTROL;
  GPIO_InitStruct.Pull = GPIO_NOPULL;
  HAL_GPIO_Init(GPIOC, &GPIO_InitStruct);

  /*Configure GPIO pins : ARD_D1_Pin ARD_D0_Pin */
  GPIO_InitStruct.Pin = ARD_D1_Pin|ARD_D0_Pin;
  GPIO_InitStruct.Mode = GPIO_MODE_AF_PP;
  GPIO_InitStruct.Pull = GPIO_NOPULL;
  GPIO_InitStruct.Speed = GPIO_SPEED_FREQ_VERY_HIGH;
  GPIO_InitStruct.Alternate = GPIO_AF8_UART4;
  HAL_GPIO_Init(GPIOA, &GPIO_InitStruct);

  /*Configure GPIO pins : Led_LCD_Pin D4_LCD_Pin D7_LCD_Pin SPBTLE_RF_RST_Pin
                           E_LCD_Pin */
  GPIO_InitStruct.Pin = Led_LCD_Pin|D4_LCD_Pin|D7_LCD_Pin|SPBTLE_RF_RST_Pin
                          |E_LCD_Pin;
  GPIO_InitStruct.Mode = GPIO_MODE_OUTPUT_PP;
  GPIO_InitStruct.Pull = GPIO_NOPULL;
  GPIO_InitStruct.Speed = GPIO_SPEED_FREQ_LOW;
  HAL_GPIO_Init(GPIOA, &GPIO_InitStruct);

  /*Configure GPIO pins : ARD_D12_Pin ARD_D11_Pin */
  GPIO_InitStruct.Pin = ARD_D12_Pin|ARD_D11_Pin;
  GPIO_InitStruct.Mode = GPIO_MODE_AF_PP;
  GPIO_InitStruct.Pull = GPIO_NOPULL;
  GPIO_InitStruct.Speed = GPIO_SPEED_FREQ_VERY_HIGH;
  GPIO_InitStruct.Alternate = GPIO_AF5_SPI1;
  HAL_GPIO_Init(GPIOA, &GPIO_InitStruct);

  /*Configure GPIO pin : ARD_D3_Pin */
  GPIO_InitStruct.Pin = ARD_D3_Pin;
  GPIO_InitStruct.Mode = GPIO_MODE_IT_RISING;
  GPIO_InitStruct.Pull = GPIO_NOPULL;
  HAL_GPIO_Init(ARD_D3_GPIO_Port, &GPIO_InitStruct);

  /*Configure GPIO pins : D6_LCD_Pin RS_LCD_Pin ISM43362_BOOT0_Pin ISM43362_WAKEUP_Pin
                           verde_Pin SPSGRF_915_SDN_Pin D5_LCD_Pin SPSGRF_915_SPI3_CSN_Pin */
  GPIO_InitStruct.Pin = D6_LCD_Pin|RS_LCD_Pin|ISM43362_BOOT0_Pin|ISM43362_WAKEUP_Pin
                          |verde_Pin|SPSGRF_915_SDN_Pin|D5_LCD_Pin|SPSGRF_915_SPI3_CSN_Pin;
  GPIO_InitStruct.Mode = GPIO_MODE_OUTPUT_PP;
  GPIO_InitStruct.Pull = GPIO_NOPULL;
  GPIO_InitStruct.Speed = GPIO_SPEED_FREQ_LOW;
  HAL_GPIO_Init(GPIOB, &GPIO_InitStruct);

  /*Configure GPIO pins : LPS22HB_INT_DRDY_EXTI0_Pin LSM6DSL_INT1_EXTI11_Pin ARD_D2_Pin HTS221_DRDY_EXTI15_Pin
                           PMOD_IRQ_EXTI12_Pin */
  GPIO_InitStruct.Pin = LPS22HB_INT_DRDY_EXTI0_Pin|LSM6DSL_INT1_EXTI11_Pin|ARD_D2_Pin|HTS221_DRDY_EXTI15_Pin
                          |PMOD_IRQ_EXTI12_Pin;
  GPIO_InitStruct.Mode = GPIO_MODE_IT_RISING;
  GPIO_InitStruct.Pull = GPIO_NOPULL;
  HAL_GPIO_Init(GPIOD, &GPIO_InitStruct);

  /*Configure GPIO pins : USB_OTG_FS_PWR_EN_Pin SPBTLE_RF_SPI3_CSN_Pin PMOD_RESET_Pin STSAFE_A100_RESET_Pin */
  GPIO_InitStruct.Pin = USB_OTG_FS_PWR_EN_Pin|SPBTLE_RF_SPI3_CSN_Pin|PMOD_RESET_Pin|STSAFE_A100_RESET_Pin;
  GPIO_InitStruct.Mode = GPIO_MODE_OUTPUT_PP;
  GPIO_InitStruct.Pull = GPIO_NOPULL;
  GPIO_InitStruct.Speed = GPIO_SPEED_FREQ_LOW;
  HAL_GPIO_Init(GPIOD, &GPIO_InitStruct);

  /*Configure GPIO pins : VL53L0X_XSHUT_Pin amarillo_Pin */
  GPIO_InitStruct.Pin = VL53L0X_XSHUT_Pin|amarillo_Pin;
  GPIO_InitStruct.Mode = GPIO_MODE_OUTPUT_PP;
  GPIO_InitStruct.Pull = GPIO_NOPULL;
  GPIO_InitStruct.Speed = GPIO_SPEED_FREQ_LOW;
  HAL_GPIO_Init(GPIOC, &GPIO_InitStruct);

  /*Configure GPIO pins : VL53L0X_GPIO1_EXTI7_Pin LSM3MDL_DRDY_EXTI8_Pin */
  GPIO_InitStruct.Pin = VL53L0X_GPIO1_EXTI7_Pin|LSM3MDL_DRDY_EXTI8_Pin;
  GPIO_InitStruct.Mode = GPIO_MODE_IT_RISING;
  GPIO_InitStruct.Pull = GPIO_NOPULL;
  HAL_GPIO_Init(GPIOC, &GPIO_InitStruct);

  /*Configure GPIO pin : PMOD_SPI2_SCK_Pin */
  GPIO_InitStruct.Pin = PMOD_SPI2_SCK_Pin;
  GPIO_InitStruct.Mode = GPIO_MODE_AF_PP;
  GPIO_InitStruct.Pull = GPIO_NOPULL;
  GPIO_InitStruct.Speed = GPIO_SPEED_FREQ_VERY_HIGH;
  GPIO_InitStruct.Alternate = GPIO_AF5_SPI2;
  HAL_GPIO_Init(PMOD_SPI2_SCK_GPIO_Port, &GPIO_InitStruct);

  /*Configure GPIO pins : PMOD_UART2_CTS_Pin PMOD_UART2_RTS_Pin PMOD_UART2_TX_Pin PMOD_UART2_RX_Pin */
  GPIO_InitStruct.Pin = PMOD_UART2_CTS_Pin|PMOD_UART2_RTS_Pin|PMOD_UART2_TX_Pin|PMOD_UART2_RX_Pin;
  GPIO_InitStruct.Mode = GPIO_MODE_AF_PP;
  GPIO_InitStruct.Pull = GPIO_NOPULL;
  GPIO_InitStruct.Speed = GPIO_SPEED_FREQ_VERY_HIGH;
  GPIO_InitStruct.Alternate = GPIO_AF7_USART2;
  HAL_GPIO_Init(GPIOD, &GPIO_InitStruct);

  /*Configure GPIO pins : ARD_D15_Pin ARD_D14_Pin */
  GPIO_InitStruct.Pin = ARD_D15_Pin|ARD_D14_Pin;
  GPIO_InitStruct.Mode = GPIO_MODE_AF_OD;
  GPIO_InitStruct.Pull = GPIO_PULLUP;
  GPIO_InitStruct.Speed = GPIO_SPEED_FREQ_VERY_HIGH;
  GPIO_InitStruct.Alternate = GPIO_AF4_I2C1;
  HAL_GPIO_Init(GPIOB, &GPIO_InitStruct);

  /* EXTI interrupt init*/
  HAL_NVIC_SetPriority(EXTI9_5_IRQn, 5, 0);
  HAL_NVIC_EnableIRQ(EXTI9_5_IRQn);

  HAL_NVIC_SetPriority(EXTI15_10_IRQn, 5, 0);
  HAL_NVIC_EnableIRQ(EXTI15_10_IRQn);

}

void StartDefaultTask(void *argument)
{
  /* init code for USB_DEVICE */
  MX_USB_DEVICE_Init();
  for(;;)
  {
    osDelay(1);
  }
}

void Start_led_verde(void *argument)
{
  /* USER CODE BEGIN Start_led_verde */
  /* Infinite loop */
  for(;;)
  {
    HAL_GPIO_WritePin(GPIOC, verde_Pin, GPIO_PIN_SET);
    osDelay(300);
    HAL_GPIO_WritePin(GPIOC, verde_Pin, GPIO_PIN_RESET);
    osDelay(300);
  }
  /* USER CODE END Start_led_verde */
}

void Start_led_amarillo(void *argument)
{
  /* USER CODE BEGIN Start_led_amarillo */
  /* Infinite loop */
  for(;;)
  {
	HAL_GPIO_WritePin(GPIOC, amarillo_Pin, GPIO_PIN_SET);
	osDelay(300);
	HAL_GPIO_WritePin(GPIOC, amarillo_Pin, GPIO_PIN_RESET);
	osDelay(300);
  }
  /* USER CODE END Start_led_amarillo */
}

void Start_LCDTareaA(void *argument)
{
  /* USER CODE BEGIN Start_LCDTareaA */
  /* Infinite loop */
	int contador=0;
	lcd_reset();
	lcd_display_settings(1,0,0);
	lcd_clear();
	for(;;)
	{
		osSemaphoreAcquire (myLCDHandle,0xFFFFFFFF);
		HAL_ADC_Start(&hadc1);
		HAL_ADC_PollForConversion(&hadc1, 100);
		sample = HAL_ADC_GetValue (&hadc1);
		Ain = (sample * 3300) / 4095;
		buttonID = getButton(Ain);
		moveToXY(0,0);
		lcd_print("TAREA A:");
		if(buttonID == 2){
			ganancia++;
		}else if(buttonID == 3){
			ganancia--;
		}
		writeIntegerToLCD(ganancia);
		osSemaphoreRelease(myLCDHandle);
		osDelay(200);
	}
  /* USER CODE END Start_LCDTareaA */
}

void Start_LCDTareaB(void *argument)
{
  /* USER CODE BEGIN Start_LCDTareaB */
  /* Infinite loop */
	osDelay(16);
	int contador=0;
	for(;;)
	{
		osSemaphoreAcquire (myLCDHandle,0xFFFFFFFF);
		HAL_ADC_Start(&hadc1);
		HAL_ADC_PollForConversion(&hadc1, 100);
		sample = HAL_ADC_GetValue (&hadc1);
		Ain = (sample * 3300) / 4095;
		buttonID = getButton(Ain);
		moveToXY(1,0);
		lcd_print("TAREA B:");
		if(buttonID == 1){
		 	efecto++;
		}else if(buttonID == 4){
			efecto--;
		}
		writeIntegerToLCD(efecto);
		osSemaphoreRelease(myLCDHandle);
		osDelay(200);
	}
  /* USER CODE END Start_LCDTareaB */
}

void Error_Handler(void)
{
}

/************************ (C) COPYRIGHT STMicroelectronics *****END OF FILE****/
